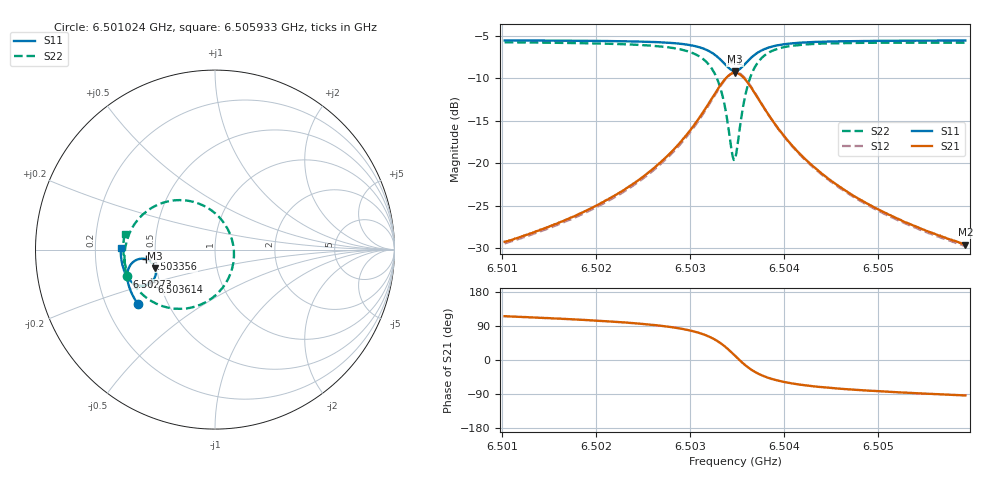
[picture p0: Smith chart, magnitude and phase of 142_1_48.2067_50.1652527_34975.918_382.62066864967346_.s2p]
#  HZ  S  RI  R  50.00
! Rohde & Schwarz Vector Network Analyzer
! Rohde-Schwarz,ZNB20-2Port,1311601062101988,3.16
! Created: UTC 3/20/2024, 11:42:21 AM
! freq[Hz]  re:S11  im:S11  re:S21  im:S21  re:S12  im:S12  re:S22  im:S22
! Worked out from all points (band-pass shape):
!   401 points, 6.501024 GHz to 6.505933 GHz, reference 50 ohm
!   highest |S21| = -9.38 dB at 6.503479 GHz (marker M1); lowest = -29.6 dB at 6.505933 GHz (marker M2)
!   |S21| within 3 dB of the highest: 6.503233 GHz to 6.503724 GHz (491.6 kHz wide, 0.00756 % of centre)
!   lowest |S11| = -9.2 dB at 6.503479 GHz (marker M3), VSWR 2.07, Z = 24.6 - j5.82 ohm
!   |S11| at or under -10 dB: nowhere
!   |S22| runs from -19.6 to -5.8 dB; largest |S21 - S12| = 0.012
!   S11 on the Smith chart (normalised r, x): 6.501024 GHz: 0.34, -0.28; 6.50273 GHz: 0.33, -0.14; 6.503356 GHz: 0.44, -0.05; 6.503614 GHz: 0.45, -0.19; 6.505933 GHz: 0.31, +0.01
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6.5010239e9  -0.4297 -0.3044  -0.0149 0.0311  -0.0132 0.0311  -0.4923 -0.1467
6.5018462e9  -0.4645 -0.2428  -0.0141 0.0491  -0.0116 0.0486  -0.5042 -0.0578
6.5022881e9  -0.4798 -0.2032  -0.0111 0.0683  -0.008 0.0672  -0.5004 0.00617
6.5026685e9  -0.4884 -0.1605  -0.00142 0.0992  0.00213 0.0968  -0.4793 0.0841
6.5027299e9  -0.4888 -0.1523  0.00171 0.1065  0.00539 0.1037  -0.4721 0.1001
6.5029508e9  -0.4854 -0.1171  0.0239 0.1421  0.0277 0.1377  -0.4258 0.1712
6.5031104e9  -0.4707 -0.085  0.0636 0.1782  0.0664 0.1721  -0.3486 0.2348
6.5032576e9  -0.4327 -0.0554  0.1456 0.2069  0.1462 0.2004  -0.199 0.2757
6.5033558e9  -0.3861 -0.0527  0.2372 0.19  0.2374 0.1849  -0.0401 0.232
6.5034417e9  -0.3434 -0.0819  0.3155 0.115  0.3179 0.1104  0.0848 0.084
6.5034663e9  -0.3354 -0.0961  0.3289 0.0831  0.332 0.0778  0.1017 0.0238
6.5034786e9  -0.3326 -0.1039  0.3331 0.066  0.3366 0.0602  0.1053 -0.00808
6.5035031e9  -0.3297 -0.1203  0.3365 0.0313  0.3403 0.0244  0.1025 -0.0716
6.5035399e9  -0.3318 -0.1442  0.3291 -0.0189  0.3324 -0.028  0.0748 -0.1605
6.5036136e9  -0.3541 -0.1813  0.2822 -0.0951  0.2818 -0.1069  -0.0359 -0.2835
6.503724e9  -0.3998 -0.2014  0.1951 -0.1406  0.1895 -0.1504  -0.2124 -0.3297
6.5038836e9  -0.447 -0.1918  0.111 -0.1368  0.1038 -0.1419  -0.3639 -0.2808
6.5040554e9  -0.4748 -0.1704  0.0653 -0.1157  0.059 -0.1179  -0.4376 -0.2141
6.5043009e9  -0.4958 -0.1406  0.0347 -0.0905  0.0298 -0.0909  -0.4817 -0.1406
6.5046691e9  -0.5115 -0.1016  0.0152 -0.0665  0.0119 -0.066  -0.5045 -0.0647
6.5051232e9  -0.5209 -0.0591  0.00519 -0.0494  0.00277 -0.0488  -0.5108 0.00122
6.5059332e9  -0.5259 0.00979  -0.00204 -0.0331  -0.0034 -0.0323  -0.5031 0.0884
